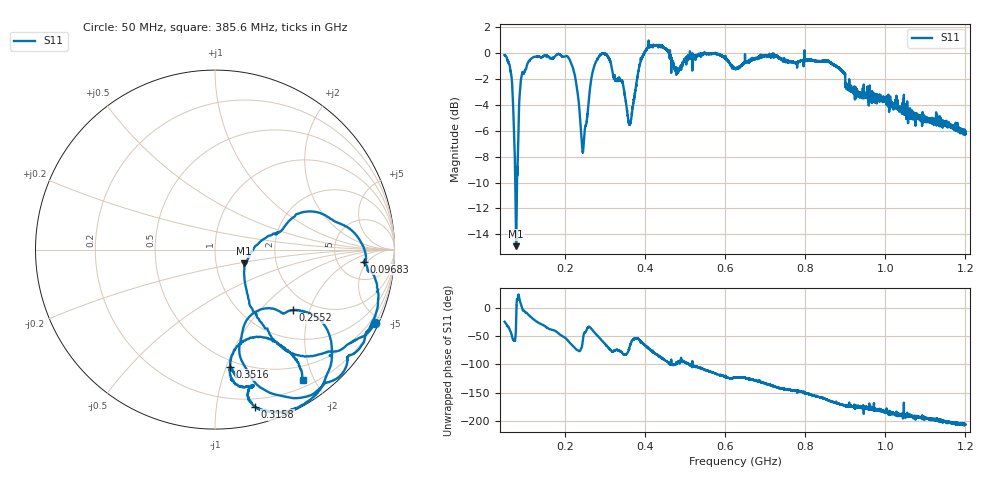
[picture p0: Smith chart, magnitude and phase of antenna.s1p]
! Calibrated high-resolution NanoVNA antenna measurement
# Hz S RI R 50
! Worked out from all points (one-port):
!   40001 points, 50 MHz to 1.2 GHz, reference 50 ohm
!   lowest |S11| = -14.9 dB at 78.69 MHz (marker M1), VSWR 1.44, Z = 68.4 - j10.8 ohm
!   |S11| at or under -10 dB: 76.57 MHz to 80.87 MHz (4.299 MHz wide, 5.46 % of centre); 80.88768 MHz to 80.9354 MHz (47.72 kHz wide, 0.059 % of centre)
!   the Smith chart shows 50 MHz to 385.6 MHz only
!   S11 on the Smith chart (normalised r, x): 50 MHz: 0.23, -4.59; 96.83 MHz: 9, -4; 255.2 MHz: 1.61, -1.56; 315.8 MHz: 0.13, -1.28; 351.6 MHz: 0.45, -1.03; 385.6 MHz: 0.29, -1.84
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5e7  0.8908 -0.4067
6.7825e7  0.5273 -0.5929
7.86925e7  0.1626 -0.0767
8.565e7  0.5506 0.2112
9.683375e7  0.8297 -0.0666
1.231688e8  0.9007 -0.3426
1.9375e8  0.6215 -0.7411
2.183312e8  0.3662 -0.814
2.36645e8  0.1381 -0.5886
2.451262e8  0.2182 -0.3519
2.551888e8  0.4354 -0.3372
2.773262e8  0.6386 -0.6619
2.989462e8  0.4575 -0.8839
3.158225e8  0.2227 -0.8756
3.375e8  0.183 -0.7664
3.516162e8  0.0828 -0.653
3.66365e8  0.2805 -0.4918
3.855988e8  0.4872 -0.7289
4.286375e8  0.1472 -1.055
4.64115e8  -0.1617 -0.9592
4.8125e8  -0.1079 -0.8356
5.44155e8  -0.3003 -0.9397
6.25e8  -0.4852 -0.7265
7.6875e8  -0.7672 -0.5142
8.598875e8  -0.889 -0.2496
9.125e8  -0.7335 -0.0748
1.05625e9  -0.583 0.0974
1.2e9  -0.4414 0.2133
